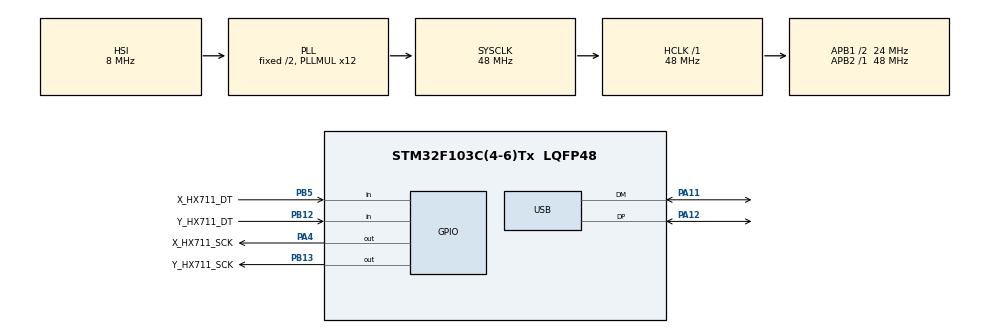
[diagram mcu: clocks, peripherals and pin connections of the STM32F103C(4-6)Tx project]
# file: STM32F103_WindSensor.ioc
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Mcu.Family=STM32F1
Mcu.Name=STM32F103C(4-6)Tx
Mcu.Package=LQFP48
NVIC.PriorityGroup=NVIC_PRIORITYGROUP_4
NVIC.USB_LP_CAN1_RX0_IRQn=true\:0\:0\:false\:false\:true\:false\:true\:true
PA11.Mode=Device
PA11.Signal=USB_DM
PA12.Mode=Device
PA12.Signal=USB_DP
PA13.Mode=Serial_Wire
PA13.Signal=SYS_JTMS-SWDIO
PA14.Mode=Serial_Wire
PA14.Signal=SYS_JTCK-SWCLK
PA4.GPIO_Label=X_HX711_SCK
PA4.Signal=GPIO_Output
PB12.GPIO_Label=Y_HX711_DT
PB12.Signal=GPIO_Input
PB13.GPIO_Label=Y_HX711_SCK
PB13.Signal=GPIO_Output
PB5.GPIO_Label=X_HX711_DT
PB5.Signal=GPIO_Input
ProjectManager.HeapSize=0x200
ProjectManager.StackSize=0x400
ProjectManager.TargetToolchain=STM32CubeIDE
RCC.AHBFreq_Value=48000000
RCC.APB1CLKDivider=RCC_HCLK_DIV2
RCC.APB1Freq_Value=24000000
RCC.APB1TimFreq_Value=48000000
RCC.APB2Freq_Value=48000000
RCC.APB2TimFreq_Value=48000000
RCC.HCLKFreq_Value=48000000
RCC.PLLMUL=RCC_PLL_MUL12
RCC.PLLSourceVirtual=RCC_PLLSOURCE_HSI_DIV2
RCC.SYSCLKFreq_VALUE=48000000
RCC.SYSCLKSource=RCC_SYSCLKSOURCE_PLLCLK
RCC.USBFreq_Value=48000000
USB_DEVICE.CLASS_NAME_FS=CDC
USB_DEVICE.VirtualMode=Cdc
USB_DEVICE.VirtualModeFS=Cdc_FS
VP_USB_DEVICE_VS_USB_DEVICE_CDC_FS.Mode=CDC_FS
board=custom

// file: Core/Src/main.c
/* USER CODE BEGIN Header */
/**
  ******************************************************************************
  * @file           : main.c
  * @brief          : Main program body
  ******************************************************************************
  * @attention
  *
  * Copyright (c) 2024 STMicroelectronics.
  * All rights reserved.
  *
  * This software is licensed under terms that can be found in the LICENSE file
  * in the root directory of this software component.
  * If no LICENSE file comes with this software, it is provided AS-IS.
  *
  ******************************************************************************
  */
/* USER CODE END Header */
#include "main.h"
#include "usb_device.h"

/* USER CODE BEGIN Includes */
#include "hx711.h"
#include <string.h>
#include <stdio.h>
#include "windSensor.h"

#ifdef USB_ENABLED
	#include "usbd_cdc_if.h"
#endif
/* USER CODE END Includes */

/* USER CODE BEGIN PD */
#define USB_ENABLED

/* USER CODE END PD */

/* USER CODE BEGIN PV */
extern struct WINDSENSOR windSensor;
uint8_t txBuffer[250];
uint8_t txtBuf[40];

uint16_t txLength = 0;
uint16_t messLength = 0;
/* USER CODE END PV */

void SystemClock_Config(void);
static void MX_GPIO_Init(void);
/* USER CODE BEGIN PFP */
uint8_t CDC_Transmit_FS(uint8_t* Buf, uint16_t Len);
/* USER CODE END PFP */

/* USER CODE BEGIN 0 */
void send_dataUSB(void){
	txLength = 0;
	messLength = sprintf((char*)txtBuf, "{\"val\":[");

	memcpy(txBuffer, txtBuf, messLength);
	txLength += messLength;
	for(uint8_t i=70; i<78; i++){
	  messLength = sprintf((char*)(txtBuf), "{\"X\":%i,\"Y\":%i},", (int)windSensor.dataArrayX[i], (int)windSensor.dataArrayY[i]);
	  memcpy(txBuffer + txLength, txtBuf, messLength);
	  txLength += messLength;
	}
	messLength = sprintf((char*)txtBuf, "], \"avg\":{\"X\":%i,\"Y\":%i}}\n", (int)windSensor.windXavg, (int)windSensor.windYavg);
	memcpy(txBuffer + txLength-1, txtBuf, messLength);
	txLength += messLength-1;
	CDC_Transmit_FS(txBuffer, txLength);
}
/* USER CODE END 0 */

int main(void)
{
  /* USER CODE BEGIN 1 */
	uint8_t needCalibFlag = 0;
  /* USER CODE END 1 */

  /* MCU Configuration--------------------------------------------------------*/

  /* Reset of all peripherals, Initializes the Flash interface and the Systick. */
  HAL_Init();

  /* Configure the system clock */
  SystemClock_Config();

  /* Initialize all configured peripherals */
  MX_GPIO_Init();
  MX_USB_DEVICE_Init();
  /* USER CODE BEGIN 2 */
  struct HX711 windSensX = {X_HX711_DT_GPIO_Port, X_HX711_DT_Pin, X_HX711_SCK_GPIO_Port, X_HX711_SCK_Pin, 0};
  struct HX711 windSensY = {Y_HX711_DT_GPIO_Port, Y_HX711_DT_Pin, Y_HX711_SCK_GPIO_Port, Y_HX711_SCK_Pin, 0};
  wind_init(&windSensX, &windSensY);
  /* USER CODE END 2 */

  /* Infinite loop */
  /* USER CODE BEGIN WHILE */
  while (1)
  {
	  wind_collect(&windSensX, &windSensY, 70, 10);
	  needCalibFlag = wind_measure(&windSensX, &windSensY);

	#ifdef USB_ENABLED
	  send_dataUSB();
	#endif

	  if(needCalibFlag == 1){
		  hx711_tara(&windSensX, 30);
		  hx711_tara(&windSensY, 30);
	  }
    /* USER CODE END WHILE */

  }
}

void SystemClock_Config(void)
{
  RCC_OscInitTypeDef RCC_OscInitStruct = {0};
  RCC_ClkInitTypeDef RCC_ClkInitStruct = {0};
  RCC_PeriphCLKInitTypeDef PeriphClkInit = {0};

  /** Initializes the RCC Oscillators according to the specified parameters
  * in the RCC_OscInitTypeDef structure.
  */
  RCC_OscInitStruct.OscillatorType = RCC_OSCILLATORTYPE_HSI;
  RCC_OscInitStruct.HSIState = RCC_HSI_ON;
  RCC_OscInitStruct.HSICalibrationValue = RCC_HSICALIBRATION_DEFAULT;
  RCC_OscInitStruct.PLL.PLLState = RCC_PLL_ON;
  RCC_OscInitStruct.PLL.PLLSource = RCC_PLLSOURCE_HSI_DIV2;
  RCC_OscInitStruct.PLL.PLLMUL = RCC_PLL_MUL12;
  if (HAL_RCC_OscConfig(&RCC_OscInitStruct) != HAL_OK)
  {
    Error_Handler();
  }

  /** Initializes the CPU, AHB and APB buses clocks
  */
  RCC_ClkInitStruct.ClockType = RCC_CLOCKTYPE_HCLK|RCC_CLOCKTYPE_SYSCLK
                              |RCC_CLOCKTYPE_PCLK1|RCC_CLOCKTYPE_PCLK2;
  RCC_ClkInitStruct.SYSCLKSource = RCC_SYSCLKSOURCE_PLLCLK;
  RCC_ClkInitStruct.AHBCLKDivider = RCC_SYSCLK_DIV1;
  RCC_ClkInitStruct.APB1CLKDivider = RCC_HCLK_DIV2;
  RCC_ClkInitStruct.APB2CLKDivider = RCC_HCLK_DIV1;

  if (HAL_RCC_ClockConfig(&RCC_ClkInitStruct, FLASH_LATENCY_1) != HAL_OK)
  {
    Error_Handler();
  }
  PeriphClkInit.PeriphClockSelection = RCC_PERIPHCLK_USB;
  PeriphClkInit.UsbClockSelection = RCC_USBCLKSOURCE_PLL;
  if (HAL_RCCEx_PeriphCLKConfig(&PeriphClkInit) != HAL_OK)
  {
    Error_Handler();
  }
}

static void MX_GPIO_Init(void)
{
  GPIO_InitTypeDef GPIO_InitStruct = {0};

  /* GPIO Ports Clock Enable */
  __HAL_RCC_GPIOA_CLK_ENABLE();
  __HAL_RCC_GPIOB_CLK_ENABLE();

  /*Configure GPIO pin Output Level */
  HAL_GPIO_WritePin(X_HX711_SCK_GPIO_Port, X_HX711_SCK_Pin, GPIO_PIN_RESET);

  /*Configure GPIO pin Output Level */
  HAL_GPIO_WritePin(Y_HX711_SCK_GPIO_Port, Y_HX711_SCK_Pin, GPIO_PIN_RESET);

  /*Configure GPIO pin : X_HX711_SCK_Pin */
  GPIO_InitStruct.Pin = X_HX711_SCK_Pin;
  GPIO_InitStruct.Mode = GPIO_MODE_OUTPUT_PP;
  GPIO_InitStruct.Pull = GPIO_NOPULL;
  GPIO_InitStruct.Speed = GPIO_SPEED_FREQ_LOW;
  HAL_GPIO_Init(X_HX711_SCK_GPIO_Port, &GPIO_InitStruct);

  /*Configure GPIO pins : Y_HX711_DT_Pin X_HX711_DT_Pin */
  GPIO_InitStruct.Pin = Y_HX711_DT_Pin|X_HX711_DT_Pin;
  GPIO_InitStruct.Mode = GPIO_MODE_INPUT;
  GPIO_InitStruct.Pull = GPIO_NOPULL;
  HAL_GPIO_Init(GPIOB, &GPIO_InitStruct);

  /*Configure GPIO pin : Y_HX711_SCK_Pin */
  GPIO_InitStruct.Pin = Y_HX711_SCK_Pin;
  GPIO_InitStruct.Mode = GPIO_MODE_OUTPUT_PP;
  GPIO_InitStruct.Pull = GPIO_NOPULL;
  GPIO_InitStruct.Speed = GPIO_SPEED_FREQ_LOW;
  HAL_GPIO_Init(Y_HX711_SCK_GPIO_Port, &GPIO_InitStruct);

}

void Error_Handler(void)
{
  __disable_irq();
  while (1)
  {
  }
}
